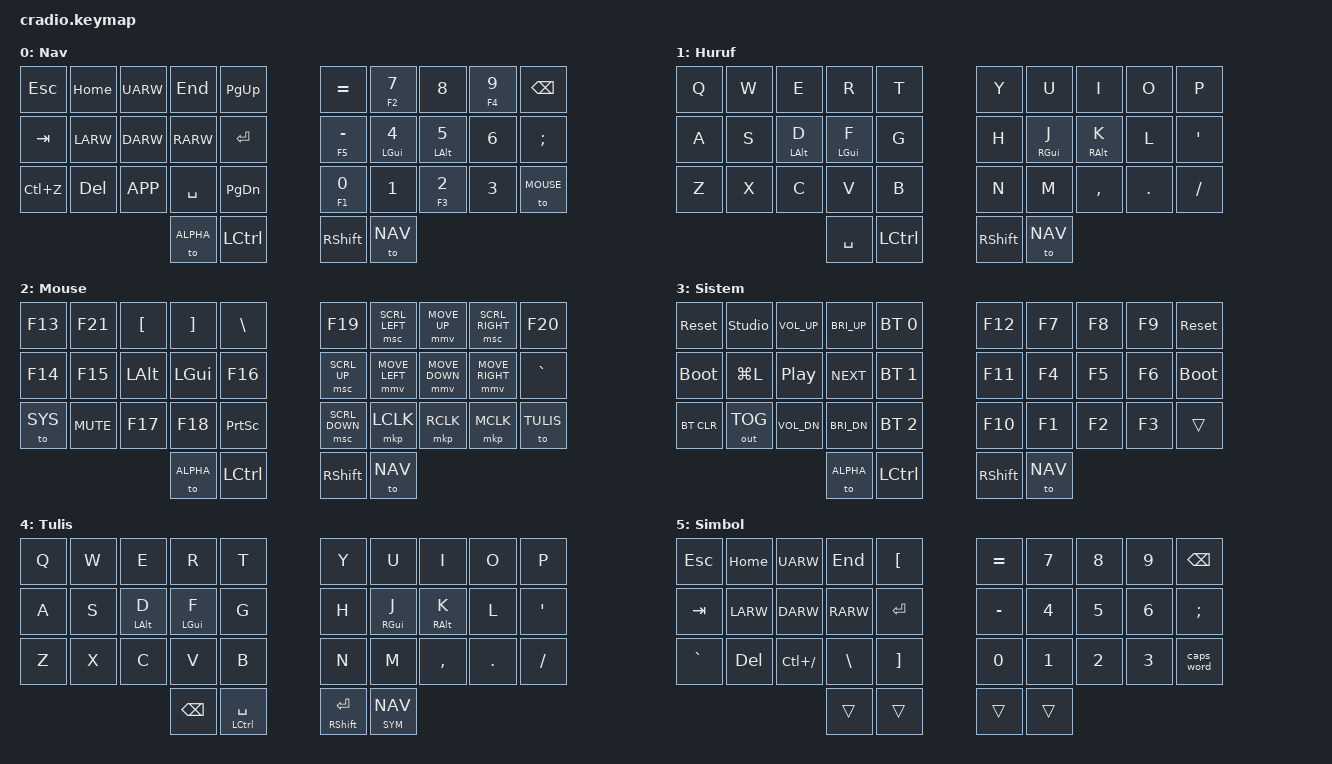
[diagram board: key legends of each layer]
// Copyright (c) 2022 The ZMK Contributors
// SPDX-License-Identifier: MIT

#include <behaviors.dtsi>
#include <dt-bindings/zmk/keys.h>
#include <dt-bindings/zmk/bt.h>
#include <dt-bindings/zmk/outputs.h>
#include <dt-bindings/zmk/mouse.h>

#include <dt-bindings/zmk/pointing.h>

// Layer
#define NAV   0
#define ALPHA 1
#define MOUSE 2
#define SYS   3
#define TULIS 4
#define SYM   5

// Posisi tombol (Cradio 34 tombol)
//  0  1  2  3  4    5  6  7  8  9
// 10 11 12 13 14   15 16 17 18 19
// 20 21 22 23 24   25 26 27 28 29
//          30 31   32 33

/ {
    behaviors {
        // hold-tap angka/huruf: tahan lama baru jadi modifier
        ht: hold_tap {
            compatible = "zmk,behavior-hold-tap";
            #binding-cells = <2>;
            flavor = "tap-preferred";
            tapping-term-ms = <220>;
            quick-tap-ms = <150>;
            require-prior-idle-ms = <100>;
            bindings = <&kp>, <&kp>;
        };
        // hold-tap jempol di layer tulis: jadi modifier begitu ada tombol lain ditekan-lepas
        htj: hold_tap_jempol {
            compatible = "zmk,behavior-hold-tap";
            #binding-cells = <2>;
            flavor = "balanced";
            tapping-term-ms = <200>;
            quick-tap-ms = <150>;
            bindings = <&kp>, <&kp>;
        };
        // jempol kanan layer tulis: tahan = layer simbol, tekan = pindah layer
        ltj: layer_tap_jempol {
            compatible = "zmk,behavior-hold-tap";
            #binding-cells = <2>;
            flavor = "balanced";
            tapping-term-ms = <200>;
            bindings = <&mo>, <&to>;
        };
    };

    combos {
        compatible = "zmk,combos";
        combo_tab {
            timeout-ms = <30>;
            require-prior-idle-ms = <150>;
            key-positions = <0 1>;           // Q + W
            bindings = <&kp TAB>;
            layers = <ALPHA TULIS>;
        };
        combo_esc {
            timeout-ms = <30>;
            require-prior-idle-ms = <150>;
            key-positions = <16 17>;         // J + K
            bindings = <&kp ESC>;
            layers = <ALPHA TULIS>;
        };
        combo_bspc {
            timeout-ms = <30>;
            require-prior-idle-ms = <150>;
            key-positions = <8 9>;           // O + P
            bindings = <&kp BSPC>;
            layers = <ALPHA TULIS>;
        };
    };

    keymap {
        compatible = "zmk,keymap";

        default_layer {
            display-name = "Nav";
            bindings = <
        //╭──────────┬──────────┬──────────┬──────────┬──────────╮   ╭──────────┬──────────┬──────────┬──────────┬──────────╮
            &kp ESC    &kp HOME   &kp UARW   &kp END    &kp PG_UP     &kp EQUAL  &ht F2 N7  &kp N8     &ht F4 N9  &kp BSPC
        //├──────────┼──────────┼──────────┼──────────┼──────────┤   ├──────────┼──────────┼──────────┼──────────┼──────────┤
            &kp TAB    &kp LARW   &kp DARW   &kp RARW   &kp RET   &ht F5 MINUS &ht LGUI N4 &ht LALT N5 &kp N6  &kp SEMI
        //├──────────┼──────────┼──────────┼──────────┼──────────┤   ├──────────┼──────────┼──────────┼──────────┼──────────┤
            &kp LC(Z)  &kp DEL    &kp K_APP  &kp SPACE  &kp PG_DN   &ht F1 N0    &kp N1   &ht F3 N2  &kp N3     &to MOUSE
        //╰──────────┴──────────┴──────────┼──────────┼──────────┤   ├──────────┼──────────┼──────────┴──────────┴──────────╯
                                             &to ALPHA  &kp LCTRL    &kp RSHFT  &to NAV
        //                                 ╰──────────┴──────────╯   ╰──────────┴──────────╯
            >;
        };

        right_layer {
            display-name = "Huruf";
            bindings = <
        //╭──────────┬──────────┬──────────┬──────────┬──────────╮   ╭──────────┬──────────┬──────────┬──────────┬──────────╮
            &kp Q      &kp W      &kp E      &kp R      &kp T          &kp Y      &kp U      &kp I      &kp O      &kp P
        //├──────────┼──────────┼──────────┼──────────┼──────────┤   ├──────────┼──────────┼──────────┼──────────┼──────────┤
            &kp A      &kp S    &ht LALT D &ht LGUI F   &kp G          &kp H    &ht RGUI J &ht RALT K   &kp L      &kp SQT
        //├──────────┼──────────┼──────────┼──────────┼──────────┤   ├──────────┼──────────┼──────────┼──────────┼──────────┤
            &kp Z      &kp X      &kp C      &kp V      &kp B          &kp N      &kp M      &kp COMMA  &kp DOT    &kp FSLH
        //╰──────────┴──────────┴──────────┼──────────┼──────────┤   ├──────────┼──────────┼──────────┴──────────┴──────────╯
                                             &kp SPACE  &kp LCTRL    &kp RSHFT  &to NAV
        //                                 ╰──────────┴──────────╯   ╰──────────┴──────────╯
            >;
        };

        left_layer {
            display-name = "Mouse";
            bindings = <
        //╭──────────┬──────────┬──────────┬──────────┬──────────╮   ╭──────────┬──────────┬──────────┬──────────┬──────────╮
            &kp F13    &kp F21    &kp LBKT   &kp RBKT   &kp BSLH      &kp F19   &msc SCRL_LEFT &mmv MOVE_UP &msc SCRL_RIGHT &kp F20
        //├──────────┼──────────┼──────────┼──────────┼──────────┤   ├──────────┼──────────┼──────────┼──────────┼──────────┤
            &kp F14    &kp F15    &kp LALT   &kp LGUI   &kp F16    &msc SCRL_UP &mmv MOVE_LEFT &mmv MOVE_DOWN &mmv MOVE_RIGHT &kp GRAVE
        //├──────────┼──────────┼──────────┼──────────┼──────────┤   ├──────────┼──────────┼──────────┼──────────┼──────────┤
            &to SYS    &kp K_MUTE &kp F17    &kp F18    &kp PSCRN  &msc SCRL_DOWN &mkp LCLK &mkp RCLK  &mkp MCLK   &to TULIS
        //╰──────────┴──────────┴──────────┼──────────┼──────────┤   ├──────────┼──────────┼──────────┴──────────┴──────────╯
                                             &to ALPHA  &kp LCTRL    &kp RSHFT  &to NAV
        //                                 ╰──────────┴──────────╯   ╰──────────┴──────────╯
            >;
        };

        tri_layer {
            display-name = "Sistem";
            bindings = <
        //╭──────────┬──────────┬──────────┬──────────┬──────────╮   ╭──────────┬──────────┬──────────┬──────────┬──────────╮
        //│ RESET    │ STUDIO   │ VOL+     │ TERANG+  │PROFILE 0 │   │ F12      │ F7       │ F8       │ F9       │  RESET   │
          &sys_reset &studio_unlock &kp C_VOL_UP &kp C_BRI_UP &bt BT_SEL 0   &kp F12  &kp F7     &kp F8     &kp F9    &sys_reset
        //├──────────┼──────────┼──────────┼──────────┼──────────┤   ├──────────┼──────────┼──────────┼──────────┼──────────┤
        //│BOOTLOADER│ KUNCI    │ PLAY     │ NEXT     │PROFILE 1 │   │ F11      │ F4       │ F5       │ F6       │BOOTLOADER│
          &bootloader &kp LG(L) &kp C_PP   &kp C_NEXT  &bt BT_SEL 1   &kp F11    &kp F4     &kp F5     &kp F6    &bootloader
        //├──────────┼──────────┼──────────┼──────────┼──────────┤   ├──────────┼──────────┼──────────┼──────────┼──────────┤
        //│ CLEAR BT │ USB/BT   │ VOL-     │ TERANG-  │PROFILE 2 │   │ F10      │ F1       │ F2       │ F3       │          │
            &bt BT_CLR &out OUT_TOG &kp C_VOL_DN &kp C_BRI_DN &bt BT_SEL 2 &kp F10 &kp F1   &kp F2     &kp F3     &trans
        //╰──────────┴──────────┴──────────┼──────────┼──────────┤   ├──────────┼──────────┼──────────┴──────────┴──────────╯
                                             &to ALPHA  &kp LCTRL    &kp RSHFT  &to NAV
        //                                 ╰──────────┴──────────╯   ╰──────────┴──────────╯
            >;
        };

        tulis_layer {
            display-name = "Tulis";
            bindings = <
        //╭──────────┬──────────┬──────────┬──────────┬──────────╮   ╭──────────┬──────────┬──────────┬──────────┬──────────╮
            &kp Q      &kp W      &kp E      &kp R      &kp T          &kp Y      &kp U      &kp I      &kp O      &kp P
        //├──────────┼──────────┼──────────┼──────────┼──────────┤   ├──────────┼──────────┼──────────┼──────────┼──────────┤
            &kp A      &kp S    &ht LALT D &ht LGUI F   &kp G          &kp H    &ht RGUI J &ht RALT K   &kp L      &kp SQT
        //├──────────┼──────────┼──────────┼──────────┼──────────┤   ├──────────┼──────────┼──────────┼──────────┼──────────┤
            &kp Z      &kp X      &kp C      &kp V      &kp B          &kp N      &kp M      &kp COMMA  &kp DOT    &kp FSLH
        //╰──────────┴──────────┴──────────┼──────────┼──────────┤   ├──────────┼──────────┼──────────┴──────────┴──────────╯
        //                                 │   BSPC   │SPACE/CTRL│   │ENTER/SHFT│NAV/SIMBOL│
                                             &kp BSPC &htj LCTRL SPACE &htj RSHFT RET &ltj SYM NAV
        //                                 ╰──────────┴──────────╯   ╰──────────┴──────────╯
            >;
        };

        sym_layer {
            display-name = "Simbol";
            bindings = <
        //╭──────────┬──────────┬──────────┬──────────┬──────────╮   ╭──────────┬──────────┬──────────┬──────────┬──────────╮
            &kp ESC    &kp HOME   &kp UARW   &kp END    &kp LBKT       &kp EQUAL  &kp N7     &kp N8     &kp N9     &kp BSPC
        //├──────────┼──────────┼──────────┼──────────┼──────────┤   ├──────────┼──────────┼──────────┼──────────┼──────────┤
            &kp TAB    &kp LARW   &kp DARW   &kp RARW   &kp RET        &kp MINUS  &kp N4     &kp N5     &kp N6     &kp SEMI
        //├──────────┼──────────┼──────────┼──────────┼──────────┤   ├──────────┼──────────┼──────────┼──────────┼──────────┤
            &kp GRAVE  &kp DEL  &kp LC(FSLH) &kp BSLH   &kp RBKT       &kp N0     &kp N1     &kp N2     &kp N3   &caps_word
        //╰──────────┴──────────┴──────────┼──────────┼──────────┤   ├──────────┼──────────┼──────────┴──────────┴──────────╯
                                             &trans     &trans       &trans     &trans
        //                                 ╰──────────┴──────────╯   ╰──────────┴──────────╯
            >;
        };

        // Layer kosong untuk diisi lewat zmk.studio tanpa flash ulang
        cadangan_1 {
            status = "reserved";
        };
        cadangan_2 {
            status = "reserved";
        };
    };
};
